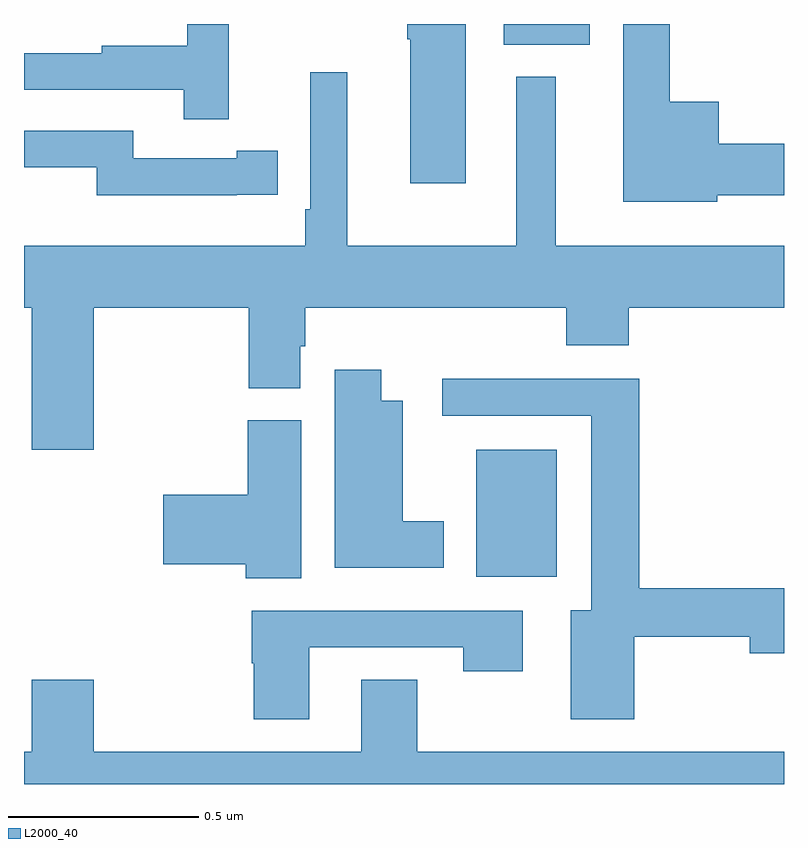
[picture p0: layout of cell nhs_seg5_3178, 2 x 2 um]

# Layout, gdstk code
import gdstk
lib = gdstk.Library(unit=1e-6, precision=1e-09)
def R(c, l, rs):  # rectangles x0, y0, x1, y1
    for r in rs: c.add(gdstk.rectangle(r[:2], r[2:], *l))
def P(c, l, *ps):  # polygons
    for p in ps: c.add(gdstk.Polygon(p, *l))
L2000_40 = (2000, 40)

nhs_seg5_3178 = lib.new_cell('nhs_seg5_3178')
R(nhs_seg5_3178, L2000_40, [(154.19,897.344,154.402,897.679), (154.262,898.745,154.489,898.799)])
P(nhs_seg5_3178, L2000_40, [(154.824,898.349),(155,898.349),(155,898.484),(154.828,898.484),(154.828,898.594),(154.699,898.594),(154.699,898.799),(154.577,898.799),(154.577,898.331),(154.824,898.331)],
  [(154.162,898.799),(154.009,898.799),(154.009,898.759),(154.016,898.759),(154.016,898.38),(154.162,898.38)],
  [(153.539,898.799),(153.429,898.799),(153.429,898.742),(153.205,898.742),(153.205,898.722),(153,898.722),(153,898.626),(153.421,898.626),(153.421,898.548),(153.539,898.548)],
  [(153,898.052),(153.02,898.052),(153.02,897.678),(153.184,897.678),(153.184,898.052),(153.592,898.052),(153.592,897.841),(153.727,897.841),(153.727,897.951),(153.74,897.951),(153.74,898.052),(154.427,898.052),(154.427,897.953),(154.592,897.953),(154.592,898.052),(155,898.052),(155,898.216),(154.399,898.216),(154.399,898.66),(154.295,898.66),(154.295,898.216),(153.85,898.216),(153.85,898.672),(153.753,898.672),(153.753,898.312),(153.74,898.312),(153.74,898.216),(153,898.216)],
  [(153.56,898.35),(153.668,898.35),(153.668,898.466),(153.56,898.466),(153.56,898.446),(153.288,898.446),(153.288,898.518),(153,898.518),(153,898.422),(153.192,898.422),(153.192,898.349),(153.56,898.349)],
  [(154.105,897.49),(153.997,897.49),(153.997,897.808),(153.94,897.808),(153.94,897.889),(153.818,897.889),(153.818,897.368),(154.105,897.368)],
  [(154.606,897.186),(154.91,897.186),(154.91,897.143),(155,897.143),(155,897.314),(154.619,897.314),(154.619,897.866),(154.101,897.866),(154.101,897.768),(154.493,897.768),(154.493,897.256),(154.439,897.256),(154.439,896.97),(154.606,896.97)],
  [(153.73,897.756),(153.589,897.756),(153.589,897.56),(153.366,897.56),(153.366,897.377),(153.584,897.377),(153.584,897.34),(153.73,897.34)],
  [(153.751,897.159),(154.156,897.159),(154.156,897.096),(154.312,897.096),(154.312,897.255),(153.599,897.255),(153.599,897.117),(153.604,897.117),(153.604,896.97),(153.751,896.97)],
  [(155,896.884),(154.035,896.884),(154.035,897.074),(153.887,897.074),(153.887,896.884),(153.184,896.884),(153.184,897.073),(153.02,897.073),(153.02,896.884),(153,896.884),(153,896.799),(155,896.799)])

lib.write_gds('nhs_seg5_3178.gds')
